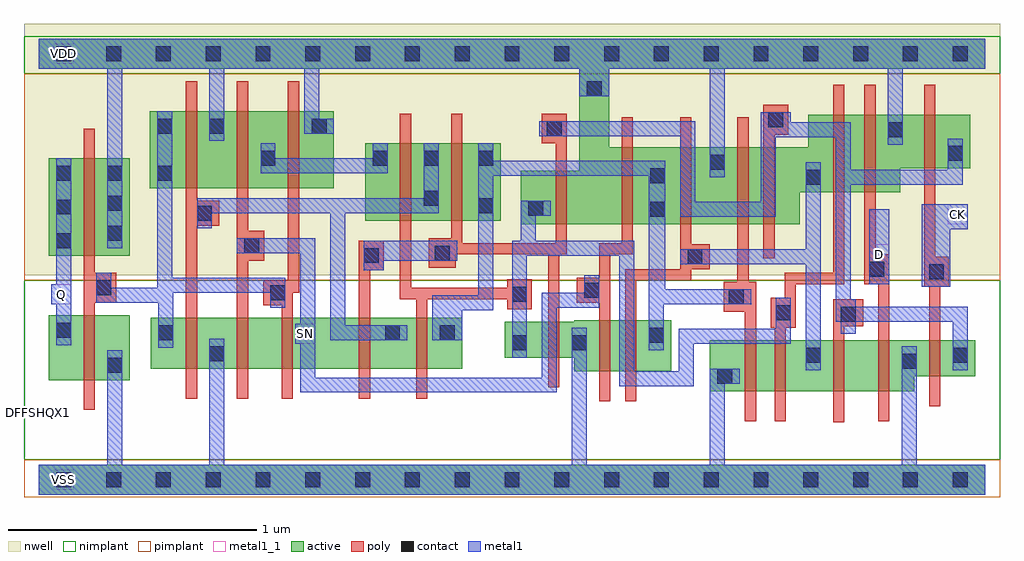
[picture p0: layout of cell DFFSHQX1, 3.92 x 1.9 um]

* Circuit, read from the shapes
.subckt DFFSHQX1 CK D Q SN VDD VSS
M1 VSS n1 Q VSS nfet w=0.26u l=0.045u
M2 VSS n2 n1 VSS nfet w=0.205u l=0.045u
M3 n3 SN VSS VSS nfet w=0.205u l=0.045u
M4 n4 n1 n3 VSS nfet w=0.205u l=0.045u
M5 n2 n5 n4 VSS nfet w=0.205u l=0.045u
M6 n6 n7 n2 VSS nfet w=0.205u l=0.045u
M7 VSS n5 n7 VSS nfet w=0.145u l=0.045u
M8 n8 SN VSS VSS nfet w=0.205u l=0.045u
M9 n6 n9 n8 VSS nfet w=0.205u l=0.045u
M10 n10 n6 VSS VSS nfet w=0.205u l=0.045u
M11 n9 n7 n10 VSS nfet w=0.205u l=0.045u
M12 n11 n5 n9 VSS nfet w=0.205u l=0.045u
M13 VSS D n11 VSS nfet w=0.205u l=0.045u
M14 n5 CK VSS VSS nfet w=0.145u l=0.045u
M15 VDD n1 Q VDD pfet w=0.39u l=0.045u
M16 VDD n2 n1 VDD pfet w=0.31u l=0.045u
M17 n12 SN VDD VDD pfet w=0.31u l=0.045u
M18 VDD n1 n12 VDD pfet w=0.31u l=0.045u
M19 n2 n7 n12 VDD pfet w=0.31u l=0.045u
M20 n6 n5 n2 VDD pfet w=0.31u l=0.045u
M21 VDD n5 n7 VDD pfet w=0.215u l=0.045u
M22 n6 SN VDD VDD pfet w=0.31u l=0.045u
M23 VDD n9 n6 VDD pfet w=0.31u l=0.045u
M24 n13 n6 VDD VDD pfet w=0.31u l=0.045u
M25 n9 n5 n13 VDD pfet w=0.31u l=0.045u
M26 n14 n7 n9 VDD pfet w=0.31u l=0.045u
M27 VDD D n14 VDD pfet w=0.31u l=0.045u
M28 n5 CK VDD VDD pfet w=0.215u l=0.045u
.ends

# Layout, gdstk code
import gdstk
lib = gdstk.Library(unit=1e-6, precision=5e-10)
def R(c, l, rs):  # rectangles x0, y0, x1, y1
    for r in rs: c.add(gdstk.rectangle(r[:2], r[2:], *l))
def A(c, l, x, y, w, h, nx, ny, dx, dy):  # array of equal rectangles
    R(c, l, [(x+i*dx, y+j*dy, x+i*dx+w, y+j*dy+h) for i in range(nx) for j in range(ny)])
def P(c, l, *ps):  # polygons
    for p in ps: c.add(gdstk.Polygon(p, *l))
active = (1, 0)
nwell = (2, 0)
poly = (3, 0)
nimplant = (4, 0)
pimplant = (5, 0)
contact = (6, 0)
metal1 = (7, 0)
metal1_1 = (7, 1)

dffshqx1 = lib.new_cell('DFFSHQX1')
R(dffshqx1, active, [(0,-0.06,3.8,0.06), (0.04,0.4,0.365,0.66), (0.45,0.445,1.7,0.65), (0.04,0.9,0.365,1.29), (1.31,1.04,1.855,1.35), (0.445,1.17,1.185,1.48)])
P(dffshqx1, active, [(0,1.77),(3.8,1.77),(3.8,1.65),(2.29,1.65),(2.29,1.335),(3.09,1.335),(3.09,1.465),(3.74,1.465),(3.74,1.25),(3.46,1.25),(3.46,1.155),(3.055,1.155),(3.055,1.025),(1.935,1.025),(1.935,1.24),(2.17,1.24),(2.17,1.65),(0,1.65)],
  [(2.15,0.64),(2.54,0.64),(2.54,0.435),(2.15,0.435),(2.15,0.49),(1.87,0.49),(1.87,0.635),(2.15,0.635)],
  [(2.695,0.56),(3.76,0.56),(3.76,0.415),(3.515,0.415),(3.515,0.355),(2.695,0.355)])
R(dffshqx1, nwell, [(-0.06,0.82,3.86,1.83)])
R(dffshqx1, poly, [(3.19,0.23,3.235,0.715), (2.94,0.61,3.04,0.73), (3.19,0.615,3.31,0.725), (2.995,0.715,3.04,0.8)])
P(dffshqx1, poly, [(0.59,1.6),(0.635,1.6),(0.635,1.12),(0.725,1.12),(0.725,1.02),(0.635,1.02),(0.635,0.325),(0.59,0.325)],
  [(0.795,1.6),(0.84,1.6),(0.84,1),(0.905,1),(0.905,0.88),(0.84,0.88),(0.84,0.325),(0.795,0.325)],
  [(1,1.6),(1.045,1.6),(1.045,0.75),(1.02,0.75),(1.02,0.325),(0.975,0.325),(0.975,0.7),(0.9,0.7),(0.9,0.8),(1,0.8)],
  [(1.45,1.47),(1.495,1.47),(1.495,0.77),(1.88,0.77),(1.88,0.805),(1.98,0.805),(1.98,0.685),(1.88,0.685),(1.88,0.725),(1.56,0.725),(1.56,0.325),(1.515,0.325),(1.515,0.725),(1.45,0.725)],
  [(1.655,1.47),(1.7,1.47),(1.7,0.95),(2.075,0.95),(2.075,1.35),(2.02,1.35),(2.02,1.47),(2.12,1.47),(2.12,0.905),(2.09,0.905),(2.09,0.37),(2.045,0.37),(2.045,0.905),(1.675,0.905),(1.675,0.85),(1.565,0.85),(1.565,0.97),(1.655,0.97)],
  [(0.18,1.41),(0.225,1.41),(0.225,0.83),(0.31,0.83),(0.31,0.71),(0.225,0.71),(0.225,0.28),(0.18,0.28)],
  [(2.91,1.505),(3.01,1.505),(3.01,1.385),(2.955,1.385),(2.955,0.89),(2.91,0.89)],
  [(2.34,1.455),(2.385,1.455),(2.385,0.905),(2.295,0.905),(2.295,0.315),(2.25,0.315),(2.25,0.71),(2.16,0.71),(2.16,0.81),(2.25,0.81),(2.25,0.95),(2.34,0.95)],
  [(2.575,1.455),(2.62,1.455),(2.62,0.945),(2.695,0.945),(2.695,0.845),(2.62,0.845),(2.62,0.8),(2.4,0.8),(2.4,0.315),(2.355,0.315),(2.355,0.845),(2.575,0.845)],
  [(2.805,1.455),(2.85,1.455),(2.85,0.795),(2.88,0.795),(2.88,0.235),(2.835,0.235),(2.835,0.675),(2.75,0.675),(2.75,0.795),(2.805,0.795)],
  [(3.19,1.585),(3.235,1.585),(3.235,0.785),(3,0.785),(3,0.235),(2.955,0.235),(2.955,0.61),(2.94,0.61),(2.94,0.73),(2.995,0.73),(2.995,0.83),(3.19,0.83)],
  [(3.315,1.585),(3.36,1.585),(3.36,0.905),(3.415,0.905),(3.415,0.235),(3.37,0.235),(3.37,0.785),(3.315,0.785)],
  [(3.555,1.585),(3.6,1.585),(3.6,0.895),(3.655,0.895),(3.655,0.775),(3.62,0.775),(3.62,0.295),(3.575,0.295),(3.575,0.775),(3.555,0.775)],
  [(1.285,0.96),(1.385,0.96),(1.385,0.84),(1.33,0.84),(1.33,0.325),(1.285,0.325)])
R(dffshqx1, nimplant, [(-0.06,0.08,3.86,0.8), (-0.06,1.63,3.86,1.78)])
R(dffshqx1, pimplant, [(-0.06,-0.07,3.86,0.08), (-0.06,0.8,3.86,1.63)])
A(dffshqx1, contact, 0.07, -0.03, 0.06, 0.06, 19, 2, 0.2, 1.71)
A(dffshqx1, contact, 0.07, 0.93, 0.06, 0.06, 1, 3, 0, 0.135)
A(dffshqx1, contact, 0.275, 0.96, 0.06, 0.06, 1, 3, 0, 0.12)
R(dffshqx1, contact, [(2.725,0.385,2.785,0.445), (0.275,0.43,0.335,0.49), (3.465,0.445,3.525,0.505), (3.08,0.47,3.14,0.53), (3.67,0.47,3.73,0.53), (0.685,0.475,0.745,0.535), (1.9,0.52,1.96,0.58), (2.14,0.52,2.2,0.58), (2.45,0.55,2.51,0.61), (0.48,0.56,0.54,0.62), (1.39,0.56,1.45,0.62), (1.61,0.56,1.67,0.62), (0.07,0.57,0.13,0.63), (3.22,0.635,3.28,0.695), (2.96,0.64,3.02,0.7), (2.77,0.705,2.83,0.765), (1.9,0.715,1.96,0.775), (0.93,0.72,0.99,0.78), (2.19,0.73,2.25,0.79), (0.23,0.74,0.29,0.8), (3.575,0.805,3.635,0.865), (3.335,0.815,3.395,0.875), (2.605,0.865,2.665,0.925), (1.305,0.87,1.365,0.93), (1.59,0.88,1.65,0.94), (0.825,0.91,0.885,0.97), (0.635,1.04,0.695,1.1), (2.455,1.055,2.515,1.115), (1.965,1.06,2.025,1.12), (1.765,1.07,1.825,1.13), (1.545,1.1,1.605,1.16), (3.08,1.185,3.14,1.245), (2.455,1.19,2.515,1.25), (0.475,1.2,0.535,1.26), (2.695,1.245,2.755,1.305), (0.89,1.26,0.95,1.32), (1.34,1.26,1.4,1.32), (1.545,1.26,1.605,1.32), (1.765,1.26,1.825,1.32), (3.65,1.28,3.71,1.34), (3.41,1.375,3.47,1.435), (2.04,1.38,2.1,1.44), (0.475,1.39,0.535,1.45), (0.685,1.39,0.745,1.45), (1.095,1.39,1.155,1.45), (2.93,1.415,2.99,1.475), (2.2,1.54,2.26,1.6)])
R(dffshqx1, metal1, [(1.03,0.545,1.06,0.625), (3.22,0.585,3.28,0.725), (3.335,0.785,3.415,1.085)])
P(dffshqx1, metal1, [(0,1.77),(3.8,1.77),(3.8,1.65),(3.47,1.65),(3.47,1.345),(3.41,1.345),(3.41,1.65),(2.755,1.65),(2.755,1.215),(2.695,1.215),(2.695,1.65),(2.29,1.65),(2.29,1.54),(2.17,1.54),(2.17,1.65),(1.125,1.65),(1.125,1.45),(1.185,1.45),(1.185,1.39),(1.065,1.39),(1.065,1.65),(0.745,1.65),(0.745,1.36),(0.685,1.36),(0.685,1.65),(0.335,1.65),(0.335,0.93),(0.275,0.93),(0.275,1.65),(0,1.65)],
  [(0.05,0.785),(0.07,0.785),(0.07,1.29),(0.13,1.29),(0.13,0.54),(0.07,0.54),(0.07,0.705),(0.05,0.705)],
  [(0.23,0.83),(0.29,0.83),(0.29,0.77),(0.475,0.77),(0.475,1.48),(0.535,1.48),(0.535,0.81),(0.99,0.81),(0.99,0.69),(0.93,0.69),(0.93,0.75),(0.54,0.75),(0.54,0.53),(0.48,0.53),(0.48,0.71),(0.23,0.71)],
  [(0.89,1.35),(0.95,1.35),(0.95,1.29),(1.34,1.29),(1.34,1.35),(1.4,1.35),(1.4,1.23),(0.89,1.23)],
  [(1.545,1.35),(1.605,1.35),(1.605,1.07),(1.23,1.07),(1.23,0.62),(1.48,0.62),(1.48,0.56),(1.17,0.56),(1.17,1.07),(0.695,1.07),(0.695,1.01),(0.635,1.01),(0.635,1.13),(1.545,1.13)],
  [(1.765,1.35),(1.825,1.35),(1.825,1.28),(2.515,1.28),(2.515,0.765),(2.86,0.765),(2.86,0.705),(2.51,0.705),(2.51,0.52),(2.45,0.52),(2.45,1.22),(1.825,1.22),(1.825,0.68),(1.7,0.68),(1.7,0.56),(1.58,0.56),(1.58,0.74),(1.765,0.74)],
  [(2.01,1.44),(2.635,1.44),(2.635,1.115),(2.9,1.115),(2.9,1.475),(3.02,1.475),(3.02,1.435),(3.26,1.435),(3.26,1.245),(3.65,1.245),(3.65,1.37),(3.71,1.37),(3.71,1.185),(3.26,1.185),(3.26,0.695),(3.73,0.695),(3.73,0.44),(3.67,0.44),(3.67,0.635),(3.2,0.635),(3.2,1.375),(2.96,1.375),(2.96,1.055),(2.575,1.055),(2.575,1.38),(2.01,1.38)],
  [(0.795,0.97),(1.11,0.97),(1.11,0.41),(2.02,0.41),(2.02,0.75),(2.19,0.75),(2.19,0.82),(2.25,0.82),(2.25,0.69),(2.08,0.69),(2.08,0.35),(1.05,0.35),(1.05,0.91),(0.795,0.91)],
  [(0.275,0.52),(0.335,0.52),(0.335,0.06),(0.685,0.06),(0.685,0.565),(0.745,0.565),(0.745,0.06),(2.14,0.06),(2.14,0.61),(2.2,0.61),(2.2,0.06),(2.695,0.06),(2.695,0.445),(2.815,0.445),(2.815,0.385),(2.755,0.385),(2.755,0.06),(3.465,0.06),(3.465,0.535),(3.525,0.535),(3.525,0.06),(3.8,0.06),(3.8,-0.06),(0,-0.06),(0,0.06),(0.275,0.06)],
  [(1.305,0.96),(1.68,0.96),(1.68,0.88),(1.385,0.88),(1.385,0.84),(1.305,0.84)],
  [(1.935,1.12),(2.055,1.12),(2.055,1.06),(1.995,1.06),(1.995,0.96),(2.39,0.96),(2.39,0.435),(2.57,0.435),(2.57,0.605),(2.96,0.605),(2.96,0.73),(3.02,0.73),(3.02,0.545),(2.63,0.545),(2.63,0.375),(2.33,0.375),(2.33,0.9),(1.96,0.9),(1.96,0.49),(1.9,0.49),(1.9,0.96),(1.935,0.96)],
  [(3.08,1.275),(3.14,1.275),(3.14,0.44),(3.08,0.44),(3.08,0.865),(2.575,0.865),(2.575,0.925),(3.08,0.925)],
  [(3.73,1.105),(3.73,1.005),(3.66,1.005),(3.66,0.775),(3.545,0.775),(3.545,1.105)])
R(dffshqx1, metal1_1, [(0.06,-0.04,0.14,0.04), (1.03,0.545,1.11,0.625), (0.05,0.705,0.13,0.785), (3.335,0.865,3.415,0.945), (3.65,1.025,3.73,1.105), (0.06,1.67,0.14,1.75)])
dffshqx1.add(gdstk.Label('CK', (3.69,1.065), layer=7, texttype=1))
dffshqx1.add(gdstk.Label('VSS', (0.1,0), layer=7, texttype=1))
dffshqx1.add(gdstk.Label('D', (3.375,0.905), layer=7, texttype=1))
dffshqx1.add(gdstk.Label('Q', (0.09,0.745), layer=7, texttype=1))
dffshqx1.add(gdstk.Label('SN', (1.07,0.585), layer=7, texttype=1))
dffshqx1.add(gdstk.Label('VDD', (0.1,1.71), layer=7, texttype=1))
dffshqx1.add(gdstk.Label('DFFSHQX1', (0,0.27), layer=63, texttype=0))

lib.write_gds('DFFSHQX1.gds')
